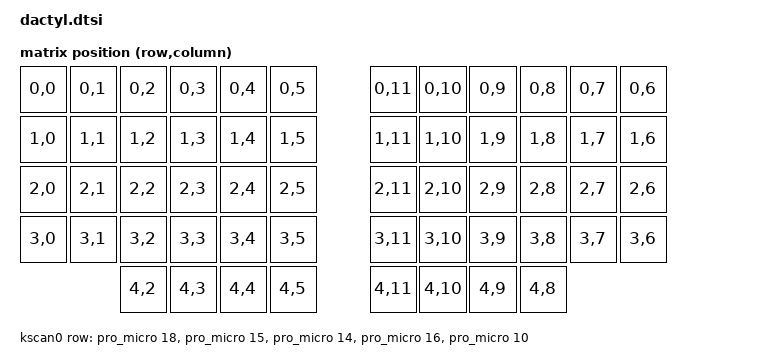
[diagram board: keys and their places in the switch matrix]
#include <dt-bindings/zmk/matrix_transform.h>

/ {
    chosen {
        zmk,kscan = &kscan0;
        zmk,matrix_transform = &default_transform;
    };

    default_transform: keymap_transform_0 {
        compatible = "zmk,matrix-transform";
        columns = <12>;
        rows = <5>;
// | MX1  | MX2  | MX3  | MX4  | MX5  |                 | MX6  | MX7  | MX8  | MX9  | MX10 |
// | MX11 | MX12 | MX13 | MX14 | MX15 |                 | MX16 | MX17 | MX18 | MX19 | MX20 |
// | MX21 | MX22 | MX23 | MX24 | MX25 |                 | MX26 | MX27 | MX28 | MX29 | MX30 |
//        | MX31 | MX32 |                                             | MX33 | MX34 |
//                      | MX35 | MX36 |                 | MX37 | MX38 |
//                             | MX39 | MX40 |   | MX41 | MX42 |
//                             | MX43 | MX44 |   | MX45 | MX46 |

        map = <
RC(0,0) RC(0,1) RC(0,2) RC(0,3) RC(0,4) RC(0,5)          RC(0,11) RC(0,10) RC(0,9) RC(0,8) RC(0,7) RC(0,6)
RC(1,0) RC(1,1) RC(1,2) RC(1,3) RC(1,4) RC(1,5)          RC(1,11) RC(1,10) RC(1,9) RC(1,8) RC(1,7) RC(1,6) 
RC(2,0) RC(2,1) RC(2,2) RC(2,3) RC(2,4) RC(2,5)          RC(2,11) RC(2,10) RC(2,9) RC(2,8) RC(2,7) RC(2,6) 
RC(3,0) RC(3,1) RC(3,2) RC(3,3) RC(3,4) RC(3,5)          RC(3,11) RC(3,10) RC(3,9) RC(3,8) RC(3,7) RC(3,6)                                         
                RC(4,2) RC(4,3) RC(4,4) RC(4,5)          RC(4,11) RC(4,10) RC(4,9) RC(4,8)                           
        >;
    };

    kscan0: kscan {
        compatible = "zmk,kscan-gpio-matrix";
        label = "KSCAN";

        diode-direction = "row2col";
        row-gpios
            = <&pro_micro 18 (GPIO_ACTIVE_HIGH | GPIO_PULL_DOWN)>
            , <&pro_micro 15 (GPIO_ACTIVE_HIGH | GPIO_PULL_DOWN)>
            , <&pro_micro 14 (GPIO_ACTIVE_HIGH | GPIO_PULL_DOWN)>
            , <&pro_micro 16 (GPIO_ACTIVE_HIGH | GPIO_PULL_DOWN)>
            , <&pro_micro 10 (GPIO_ACTIVE_HIGH | GPIO_PULL_DOWN)>
            ;

    };

key_physical_attrs: key_physical_attrs {
        compatible = "zmk,key-physical-attributes";
        label = "DEFAULT_1U";
        w = <1000>; // 1 unit width
        h = <1000>; // 1 unit height
        x = <0>;
        y = <0>;
        r = <0>;
        rx = <0>;
        ry = <0>;
    };

    physical_layout0: physical_layout_0 {
        compatible = "zmk,physical-layout";
        display-name = "Dactyl 5x6";
        transform = <&default_transform>;
        kscan = <&kscan0>;
        keys  //                     w   h    x    y     rot    rx    ry
            // Row 1 (12 keys)
            = <&key_physical_attrs>, <&key_physical_attrs>, <&key_physical_attrs>, <&key_physical_attrs>,
            <&key_physical_attrs>, <&key_physical_attrs>, <&key_physical_attrs>, <&key_physical_attrs>,
            <&key_physical_attrs>, <&key_physical_attrs>, <&key_physical_attrs>, <&key_physical_attrs>,

            // Row 2 (12 keys)
            <&key_physical_attrs>, <&key_physical_attrs>, <&key_physical_attrs>, <&key_physical_attrs>,
            <&key_physical_attrs>, <&key_physical_attrs>, <&key_physical_attrs>, <&key_physical_attrs>,
            <&key_physical_attrs>, <&key_physical_attrs>, <&key_physical_attrs>, <&key_physical_attrs>,
            
            // Row 3 (12 keys)
            <&key_physical_attrs>, <&key_physical_attrs>, <&key_physical_attrs>, <&key_physical_attrs>,
            <&key_physical_attrs>, <&key_physical_attrs>, <&key_physical_attrs>, <&key_physical_attrs>,
            <&key_physical_attrs>, <&key_physical_attrs>, <&key_physical_attrs>, <&key_physical_attrs>,
            
            // Row 4 (12 keys)
            <&key_physical_attrs>, <&key_physical_attrs>, <&key_physical_attrs>, <&key_physical_attrs>,
            <&key_physical_attrs>, <&key_physical_attrs>, <&key_physical_attrs>, <&key_physical_attrs>,
            <&key_physical_attrs>, <&key_physical_attrs>, <&key_physical_attrs>, <&key_physical_attrs>,
            
            // Row 5 (8 keys) - The physical layout doesn't need to align, but it helps for visualization.
            // For a clean visualization, you might want to adjust the X offset of these 8 keys
            // to make them appear centered under the 12 columns, but this is a complex detail.
            // For a simple definition, we just list the 8 keys:
           <&key_physical_attrs>, <&key_physical_attrs>, <&key_physical_attrs>, <&key_physical_attrs>,
            <&key_physical_attrs>, <&key_physical_attrs>, <&key_physical_attrs>, <&key_physical_attrs>
            ;
    };

};
